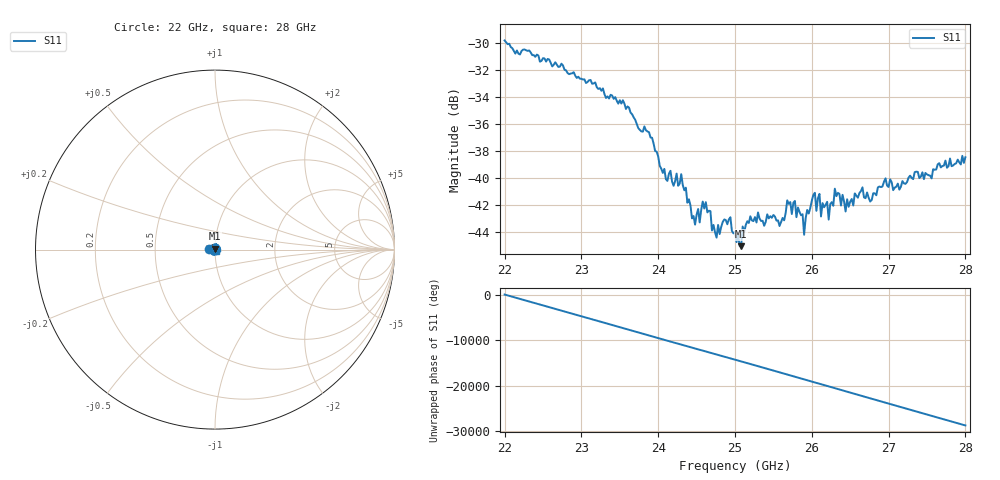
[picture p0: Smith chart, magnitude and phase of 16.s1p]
#  HZ  S  RI  R  50.00
! Rohde & Schwarz ZVA40 4Ports - Version 3.90 - 1145.1110k42 SN: 100403
! Date: 2023-10-04 08:34:38
! Measurement: S12
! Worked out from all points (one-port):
!   301 points, 22 GHz to 28 GHz, reference 50 ohm
!   lowest |S11| = -45.0 dB at 25.08 GHz (marker M1), VSWR 1.01, Z = 49.8 + j0.531 ohm
!   |S11| at or under -10 dB: start of sweep to end of sweep
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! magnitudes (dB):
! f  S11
! 22 GHz  -29.8
! 22.76 GHz  -31.7
! 23.5 GHz  -34.3
! 24.26 GHz  -40.6
! 24.3 GHz  -39.7
! 24.48 GHz  -43.4
! 24.58 GHz  -41.7
! 24.76 GHz  -44.4
! 24.94 GHz  -42.9
! 25 GHz  -44.0
! 25.08 GHz  -45.0
! 25.1 GHz  -43.6
! 25.2 GHz  -42.8
! 25.58 GHz  -43.5
! 25.76 GHz  -41.8
! 25.88 GHz  -42.7
! 25.9 GHz  -44.2
! 26.04 GHz  -41.1
! 26.06 GHz  -42.4
! 26.1 GHz  -41.2
! 26.12 GHz  -42.8
! 26.2 GHz  -41.8
! 26.22 GHz  -43.1
! 26.3 GHz  -40.8
! 26.44 GHz  -42.5
! 26.5 GHz  -41.7
! 27.26 GHz  -40.0
! 28 GHz  -38.5
